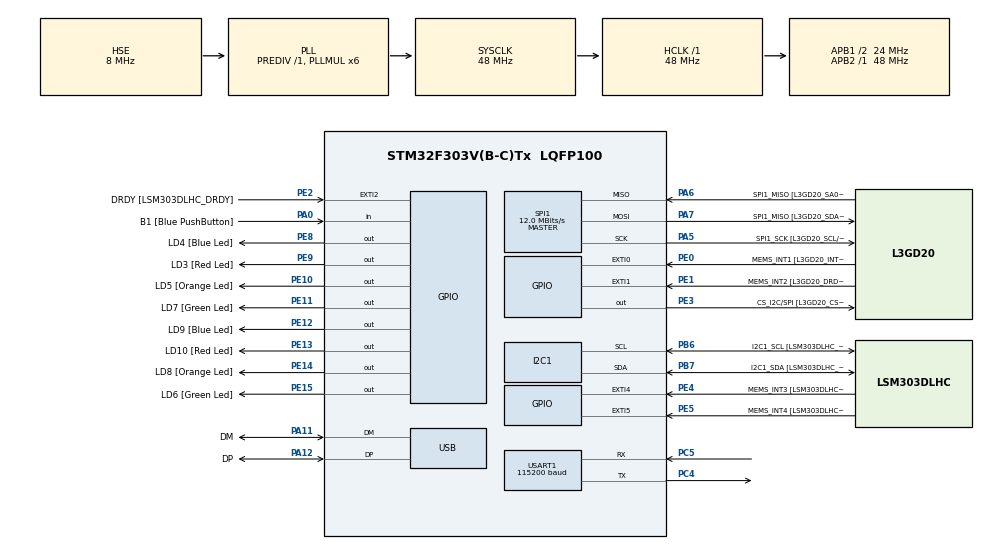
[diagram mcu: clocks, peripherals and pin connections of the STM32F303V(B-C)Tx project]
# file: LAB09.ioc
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I2C1.Timing=0x00201D2B
I2C1.Timing-I2C=0x2000090E
Mcu.Family=STM32F3
Mcu.Name=STM32F303V(B-C)Tx
Mcu.Package=LQFP100
NVIC.PriorityGroup=NVIC_PRIORITYGROUP_0
PA0.GPIO_Label=B1 [Blue PushButton]
PA0.Signal=GPIO_Input
PA11.GPIO_Label=DM
PA11.Mode=Device
PA11.Signal=USB_DM
PA12.GPIO_Label=DP
PA12.Mode=Device
PA12.Signal=USB_DP
PA13.GPIO_Label=SWDIO
PA13.Mode=Serial_Wire
PA13.Signal=SYS_JTMS-SWDIO
PA14.GPIO_Label=SWCLK
PA14.Mode=Serial_Wire
PA14.Signal=SYS_JTCK-SWCLK
PA5.GPIO_Label=SPI1_SCK [L3GD20_SCL/SPC]
PA5.Mode=Full_Duplex_Master
PA5.Signal=SPI1_SCK
PA6.GPIO_Label=SPI1_MISO [L3GD20_SA0/SDO]
PA6.Mode=Full_Duplex_Master
PA6.Signal=SPI1_MISO
PA7.GPIO_Label=SPI1_MISO [L3GD20_SDA/SDI/SDO]
PA7.Mode=Full_Duplex_Master
PA7.Signal=SPI1_MOSI
PB3.GPIO_Label=SWO
PB3.Signal=SYS_JTDO-TRACESWO
PB6.GPIO_Label=I2C1_SCL [LSM303DLHC_SCL]
PB6.GPIO_Pu=GPIO_PULLUP
PB6.Mode=I2C
PB6.Signal=I2C1_SCL
PB7.GPIO_Label=I2C1_SDA [LSM303DLHC_SDA]
PB7.GPIO_Pu=GPIO_PULLUP
PB7.Mode=I2C
PB7.Signal=I2C1_SDA
PC14-OSC32_IN.GPIO_Label=OSC32_IN
PC14-OSC32_IN.Signal=RCC_OSC32_IN
PC15-OSC32_OUT.GPIO_Label=OSC32_OUT
PC15-OSC32_OUT.Signal=RCC_OSC32_OUT
PC4.Mode=Asynchronous
PC4.Signal=USART1_TX
PC5.Mode=Asynchronous
PC5.Signal=USART1_RX
PE0.GPIO_Label=MEMS_INT1 [L3GD20_INT1]
PE0.GPIO_ModeDefaultEXTI=GPIO_MODE_EVT_RISING
PE0.Signal=GPXTI0
PE1.GPIO_Label=MEMS_INT2 [L3GD20_DRDY/INT2]
PE1.GPIO_ModeDefaultEXTI=GPIO_MODE_EVT_RISING
PE1.Signal=GPXTI1
PE10.GPIO_Label=LD5 [Orange Led]
PE10.Signal=GPIO_Output
PE11.GPIO_Label=LD7 [Green Led]
PE11.Signal=GPIO_Output
PE12.GPIO_Label=LD9 [Blue Led]
PE12.Signal=GPIO_Output
PE13.GPIO_Label=LD10 [Red Led]
PE13.Signal=GPIO_Output
PE14.GPIO_Label=LD8 [Orange Led]
PE14.Signal=GPIO_Output
PE15.GPIO_Label=LD6 [Green Led]
PE15.Signal=GPIO_Output
PE2.GPIO_Label=DRDY [LSM303DLHC_DRDY]
PE2.GPIO_ModeDefaultEXTI=GPIO_MODE_EVT_RISING
PE2.Signal=GPXTI2
PE3.GPIO_Label=CS_I2C/SPI [L3GD20_CS_I2C/SPI]
PE3.Signal=GPIO_Output
PE4.GPIO_Label=MEMS_INT3 [LSM303DLHC_INT1]
PE4.GPIO_ModeDefaultEXTI=GPIO_MODE_EVT_RISING
PE4.Signal=GPXTI4
PE5.GPIO_Label=MEMS_INT4 [LSM303DLHC_INT2]
PE5.GPIO_ModeDefaultEXTI=GPIO_MODE_EVT_RISING
PE5.Signal=GPXTI5
PE8.GPIO_Label=LD4 [Blue Led]
PE8.Signal=GPIO_Output
PE9.GPIO_Label=LD3 [Red Led]
PE9.Signal=GPIO_Output
PF0-OSC_IN.GPIO_Label=OSC_IN
PF0-OSC_IN.Mode=HSE-External-Clock-Source
PF0-OSC_IN.Signal=RCC_OSC_IN
PF1-OSC_OUT.GPIO_Label=OSC_OUT
PF1-OSC_OUT.Signal=RCC_OSC_OUT
ProjectManager.HeapSize=0x200
ProjectManager.StackSize=0x400
ProjectManager.TargetToolchain=CMake
RCC.AHBFreq_Value=48000000
RCC.APB1CLKDivider=RCC_HCLK_DIV2
RCC.APB1Freq_Value=24000000
RCC.APB1TimFreq_Value=48000000
RCC.APB2Freq_Value=48000000
RCC.APB2TimFreq_Value=48000000
RCC.CortexFreq_Value=48000000
RCC.HCLKFreq_Value=48000000
RCC.HSE_VALUE=8000000
RCC.HSI_VALUE=8000000
RCC.LSE_VALUE=32768
RCC.PLLMUL=RCC_PLL_MUL6
RCC.SYSCLKFreq_VALUE=48000000
RCC.SYSCLKSourceVirtual=RCC_SYSCLKSOURCE_PLLCLK
RCC.USBFreq_Value=48000000
SPI1.BaudRatePrescaler=SPI_BAUDRATEPRESCALER_4
SPI1.BaudRatePrescaler-Full_Duplex_Master=SPI_BAUDRATEPRESCALER_2
SPI1.CalculateBaudRate=12.0 MBits/s
SPI1.CalculateBaudRate-Full_Duplex_Master=24.0 MBits/s
SPI1.Direction=SPI_DIRECTION_2LINES
SPI1.Mode=SPI_MODE_MASTER
SPI1.Mode-Full_Duplex_Master=SPI_MODE_MASTER
SPI1.VirtualType=VM_MASTER
USART1.BaudRate=115200
USART1.VirtualMode-Asynchronous=VM_ASYNC
board=STM32F3DISCOVERY

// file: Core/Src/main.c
/* USER CODE BEGIN Header */
/**
  ******************************************************************************
  * @file           : main.c
  * @brief          : Main program body
  ******************************************************************************
  * @attention
  *
  * Copyright (c) 2025 STMicroelectronics.
  * All rights reserved.
  *
  * This software is licensed under terms that can be found in the LICENSE file
  * in the root directory of this software component.
  * If no LICENSE file comes with this software, it is provided AS-IS.
  *
  ******************************************************************************
  */
/* USER CODE END Header */
#include "main.h"

/* USER CODE BEGIN Includes */

#include "stdio.h"
#include "stm32f3xx_hal.h"
#include "string.h"
#include "math.h"

/* USER CODE END Includes */

/* USER CODE BEGIN PTD */
//task 1 defs

#define WHO_AM_I_REG     0x0F

uint8_t who_am_i = 0;
char msg[50];
#define LSM303AGR_ADDR   (0x19 << 1)
#define LSM303AGR_ADDR_WRITE 0x32
#define LSM303AGR_ADDR_READ  0x33

#define CTRL_REG1      0x20
#define CTRL_REG1_VAL  0b00001111
#define WHO_AM_I_A      0x0F
#define CTRL_REG1_A     0x20
#define CTRL_REG4_A     0x23
#define OUT_X_L_A       0x28
#define RAD_TO_DEG      57.2958
#define I3G4250D_CS_PORT   GPIOE
#define I3G4250D_CS_PIN    GPIO_PIN_3
#define I3G4250D_WHO_AM_I  0x0F
#define I3G4250D_CTRL_REG1 0x20
#define I3G4250D_CTRL_REG4 0x23
#define I3G4250D_OUT_X_L   0x28
extern I2C_HandleTypeDef hi2c1;
extern UART_HandleTypeDef huart1;

typedef struct {
    int16_t rawX, rawY, rawZ;
    float accX, accY, accZ;
    float offsetX, offsetY, offsetZ;
} LSM303_Data;

LSM303_Data lsmData;

/* USER CODE END PTD */

/* USER CODE BEGIN PD */
typedef struct {

  float acc_rot;
  float gyro_rot;

} rot_angle_struct_t;

rot_angle_struct_t rot_angle_struct;

/* USER CODE END PD */

I2C_HandleTypeDef hi2c1;

SPI_HandleTypeDef hspi1;

UART_HandleTypeDef huart1;

PCD_HandleTypeDef hpcd_USB_FS;

void SystemClock_Config(void);
static void MX_GPIO_Init(void);
static void MX_I2C1_Init(void);
static void MX_SPI1_Init(void);
static void MX_USART1_UART_Init(void);
static void MX_USB_PCD_Init(void);
int16_t gx, gy, gz;

/* USER CODE BEGIN 0 */
void I3G4250D_Init(void)
{
    uint8_t data[2];

    // CTRL_REG1: normal mode, enable all axes
    data[0] = I3G4250D_CTRL_REG1; // register address
    data[1] = 0x0F;               // normal mode, all axes on
    HAL_GPIO_WritePin(GPIOE, I3G4250D_CS_PIN, GPIO_PIN_RESET);
    HAL_SPI_Transmit(&hspi1, data, 2, HAL_MAX_DELAY);
    HAL_GPIO_WritePin(GPIOE, I3G4250D_CS_PIN, GPIO_PIN_SET);

    // CTRL_REG4: scale ±250 dps
    data[0] = I3G4250D_CTRL_REG4;
    data[1] = 0x00;
    HAL_GPIO_WritePin(GPIOE, I3G4250D_CS_PIN, GPIO_PIN_RESET);
    HAL_SPI_Transmit(&hspi1, data, 2, HAL_MAX_DELAY);
    HAL_GPIO_WritePin(GPIOE, I3G4250D_CS_PIN, GPIO_PIN_SET);
}

// Global offsets for gyro
int16_t gx_offset = 0, gy_offset = 0, gz_offset = 0;

// Call once at startup to calibrate gyro
void I3G4250D_Calibrate(void)
{
    const int samples = 200;  // More samples = better average
    int32_t sumX = 0, sumY = 0, sumZ = 0;
    int16_t gx_raw, gy_raw, gz_raw;
    uint8_t buf[7];

    HAL_UART_Transmit(&huart1, (uint8_t*)"Calibrating gyro...\r\n", 21, HAL_MAX_DELAY);

    for (int i = 0; i < samples; i++)
    {
        buf[0] = 0x28 | 0xC0;  // OUT_X_L + auto-increment
        HAL_GPIO_WritePin(GPIOE, I3G4250D_CS_PIN, GPIO_PIN_RESET);
        HAL_SPI_TransmitReceive(&hspi1, buf, buf, 7, HAL_MAX_DELAY);
        HAL_GPIO_WritePin(GPIOE, I3G4250D_CS_PIN, GPIO_PIN_SET);

        gx_raw = (int16_t)(buf[2] << 8 | buf[1]);
        gy_raw = (int16_t)(buf[4] << 8 | buf[3]);
        gz_raw = (int16_t)(buf[6] << 8 | buf[5]);

        sumX += gx_raw;
        sumY += gy_raw;
        sumZ += gz_raw;

        HAL_Delay(5);
    }

    gx_offset = sumX / samples;
    gy_offset = sumY / samples;
    gz_offset = sumZ / samples;

    // Small deadband noise threshold (ignore ±2 raw counts)
    if (gx_offset > -2 && gx_offset < 2) gx_offset = 0;
    if (gy_offset > -2 && gy_offset < 2) gy_offset = 0;
    if (gz_offset > -2 && gz_offset < 2) gz_offset = 0;

}

// Read gyro axes with offsets applied
void read_gyro_axes(void)
{
    uint8_t buf[7];
    buf[0] = 0x28 | 0xC0;

    HAL_GPIO_WritePin(GPIOE, I3G4250D_CS_PIN, GPIO_PIN_RESET);
    HAL_SPI_TransmitReceive(&hspi1, buf, buf, 7, HAL_MAX_DELAY);
    HAL_GPIO_WritePin(GPIOE, I3G4250D_CS_PIN, GPIO_PIN_SET);

    int16_t gx_raw = (int16_t)(buf[2] << 8 | buf[1]) - gx_offset;
    int16_t gy_raw = (int16_t)(buf[4] << 8 | buf[3]) - gy_offset;
    int16_t gz_raw = (int16_t)(buf[6] << 8 | buf[5]) - gz_offset;

    float gx_dps = gx_raw * 0.00875f;
    float gy_dps = gy_raw * 0.00875f;
    float gz_dps = gz_raw * 0.00875f;
    // rot_angle_struct.gyro_rot = gy_dps;

 char uartBuf[80];
    snprintf(uartBuf, sizeof(uartBuf), "GYRO: %.2f, %.2f, %.2f\r\n", gx_dps, gy_dps, gz_dps);
    HAL_UART_Transmit(&huart1, (uint8_t*)uartBuf, strlen(uartBuf), HAL_MAX_DELAY);
}

void LSM303_Init(void)
{
    uint8_t data;

    // 1. Enable all axes (X, Y, Z), 100 Hz, normal mode
    data = 0x57;  // 0101 0111 = 100Hz, all axes enabled
    HAL_I2C_Mem_Write(&hi2c1, LSM303AGR_ADDR,
                      CTRL_REG1_A, I2C_MEMADD_SIZE_8BIT,
                      &data, 1, HAL_MAX_DELAY);

    // 2. Disable high-pass filters
    data = 0x00;
    HAL_I2C_Mem_Write(&hi2c1, LSM303AGR_ADDR,
                      0x21, I2C_MEMADD_SIZE_8BIT,
                      &data, 1, HAL_MAX_DELAY);

    // 3. Enable block data update, ±2g full-scale, little endian
    data = 0x80;  // BDU=1
    HAL_I2C_Mem_Write(&hi2c1, LSM303AGR_ADDR,
                      CTRL_REG4_A, I2C_MEMADD_SIZE_8BIT,
                      &data, 1, HAL_MAX_DELAY);

    // 4. Enable auto-increment for multiple reads (CTRL_REG6_A)
    data = 0x10;
    HAL_I2C_Mem_Write(&hi2c1, LSM303AGR_ADDR,
                      0x25, I2C_MEMADD_SIZE_8BIT,
                      &data, 1, HAL_MAX_DELAY);

    HAL_Delay(200);
}

// Read accelerometer
#define LSM303_SCALE_2G 0.001f  // 1 mg/LSB

void LSM303_ReadAccel(void)
{
    uint8_t data[6];
    HAL_I2C_Mem_Read(&hi2c1, LSM303AGR_ADDR, OUT_X_L_A | 0x80,
                     I2C_MEMADD_SIZE_8BIT, data, 6, HAL_MAX_DELAY);

    // Combine bytes (little-endian: low byte first)
    lsmData.rawX = (int16_t)(data[1] << 8 | data[0]);
    lsmData.rawY = (int16_t)(data[3] << 8 | data[2]);
    lsmData.rawZ = (int16_t)(data[5] << 8 | data[4]);

    // Convert to m/s² (assuming ±2g range, 1 LSB = 0.000598 m/s²)
    lsmData.accX = lsmData.rawX * 0.000598 - lsmData.offsetX;
    lsmData.accY = lsmData.rawY * 0.000598 - lsmData.offsetY;
    lsmData.accZ = lsmData.rawZ * 0.000598 - lsmData.offsetZ;

    // Store one axis for rotation (example: Y-axis)
    rot_angle_struct.acc_rot = lsmData.accY;
}

void LSM303_Offset(void)
{
    float sumX = 0, sumY = 0;
    int samples = 20;

    for (int i = 0; i < samples; i++)
    {
        LSM303_ReadAccel();
        sumX += lsmData.accX;
        sumY += lsmData.accY;
        HAL_Delay(50);
    }

    lsmData.offsetX = sumX / samples;
    lsmData.offsetY = sumY / samples;
}

void LSM303_Print(void)
{
    char uartBuf[100];
    snprintf(uartBuf, sizeof(uartBuf),
             "ACC: %.2f, %.2f, %.2f\r\n",
             lsmData.accX,
             lsmData.accY,
             lsmData.accZ);
    HAL_UART_Transmit(&huart1, (uint8_t*)uartBuf, strlen(uartBuf), HAL_MAX_DELAY);
}

/* USER CODE END 0 */

int main(void)
{

  /* MCU Configuration--------------------------------------------------------*/

  /* Reset of all peripherals, Initializes the Flash interface and the Systick. */

  HAL_Init();
  void gyro_init(void);
  void read_gyro_axes(void);                         // task3
  void HAL_SPI_TxCpltCallback(SPI_HandleTypeDef *hspi);
  void HAL_SPI_RxCpltCallback(SPI_HandleTypeDef *hspi);
  /* USER CODE BEGIN Init */
  I3G4250D_Init();
  HAL_Delay(100);
  I3G4250D_Calibrate();
  /* USER CODE END Init */

  /* Configure the system clock */
  SystemClock_Config();

  /* Initialize all configured peripherals */
  MX_GPIO_Init();
  MX_I2C1_Init();
  MX_SPI1_Init();
  MX_USART1_UART_Init();
  MX_USB_PCD_Init();

  // now initialize gyro
  I3G4250D_Init();
  HAL_Delay(100);

  // then accelerometer
  LSM303_Init();
  HAL_Delay(100);
  LSM303_Offset();

  /* USER CODE END 2 */

  /* Infinite loop */
    //task 1
  //     HAL_Delay(100); // Wait for sensor startup

  // if (HAL_I2C_Mem_Read(&hi2c1, LSM303AGR_ADDR, WHO_AM_I_REG,
  //                      I2C_MEMADD_SIZE_8BIT, &who_am_i, 1, HAL_MAX_DELAY) == HAL_OK)
  // {
  //     sprintf(msg, "LSM303AGR WHO_AM_I register = 0x%02X\r\n", who_am_i);
  // }
  // else
  // {
  //     sprintf(msg, "I2C read failed!\r\n");
  // }

  // HAL_UART_Transmit(&huart1, (uint8_t*)msg, strlen(msg), HAL_MAX_DELAY);
    /* USER CODE BEGIN 3 */

    while (1)
{
    LSM303_ReadAccel();
    LSM303_Print();
    read_gyro_axes();
    HAL_Delay(200);
}

  }
  /* USER CODE END 3 */

void SystemClock_Config(void)
{
  RCC_OscInitTypeDef RCC_OscInitStruct = {0};
  RCC_ClkInitTypeDef RCC_ClkInitStruct = {0};
  RCC_PeriphCLKInitTypeDef PeriphClkInit = {0};

  /** Initializes the RCC Oscillators according to the specified parameters
  * in the RCC_OscInitTypeDef structure.
  */
  RCC_OscInitStruct.OscillatorType = RCC_OSCILLATORTYPE_HSI|RCC_OSCILLATORTYPE_HSE;
  RCC_OscInitStruct.HSEState = RCC_HSE_BYPASS;
  RCC_OscInitStruct.HSEPredivValue = RCC_HSE_PREDIV_DIV1;
  RCC_OscInitStruct.HSIState = RCC_HSI_ON;
  RCC_OscInitStruct.HSICalibrationValue = RCC_HSICALIBRATION_DEFAULT;
  RCC_OscInitStruct.PLL.PLLState = RCC_PLL_ON;
  RCC_OscInitStruct.PLL.PLLSource = RCC_PLLSOURCE_HSE;
  RCC_OscInitStruct.PLL.PLLMUL = RCC_PLL_MUL6;
  if (HAL_RCC_OscConfig(&RCC_OscInitStruct) != HAL_OK)
  {
    Error_Handler();
  }

  /** Initializes the CPU, AHB and APB buses clocks
  */
  RCC_ClkInitStruct.ClockType = RCC_CLOCKTYPE_HCLK|RCC_CLOCKTYPE_SYSCLK
                              |RCC_CLOCKTYPE_PCLK1|RCC_CLOCKTYPE_PCLK2;
  RCC_ClkInitStruct.SYSCLKSource = RCC_SYSCLKSOURCE_PLLCLK;
  RCC_ClkInitStruct.AHBCLKDivider = RCC_SYSCLK_DIV1;
  RCC_ClkInitStruct.APB1CLKDivider = RCC_HCLK_DIV2;
  RCC_ClkInitStruct.APB2CLKDivider = RCC_HCLK_DIV1;

  if (HAL_RCC_ClockConfig(&RCC_ClkInitStruct, FLASH_LATENCY_1) != HAL_OK)
  {
    Error_Handler();
  }
  PeriphClkInit.PeriphClockSelection = RCC_PERIPHCLK_USB|RCC_PERIPHCLK_USART1
                              |RCC_PERIPHCLK_I2C1;
  PeriphClkInit.Usart1ClockSelection = RCC_USART1CLKSOURCE_PCLK2;
  PeriphClkInit.I2c1ClockSelection = RCC_I2C1CLKSOURCE_HSI;
  PeriphClkInit.USBClockSelection = RCC_USBCLKSOURCE_PLL;
  if (HAL_RCCEx_PeriphCLKConfig(&PeriphClkInit) != HAL_OK)
  {
    Error_Handler();
  }
}

static void MX_I2C1_Init(void)
{

  hi2c1.Instance = I2C1;
  hi2c1.Init.Timing = 0x00201D2B;
  hi2c1.Init.OwnAddress1 = 0;
  hi2c1.Init.AddressingMode = I2C_ADDRESSINGMODE_7BIT;
  hi2c1.Init.DualAddressMode = I2C_DUALADDRESS_DISABLE;
  hi2c1.Init.OwnAddress2 = 0;
  hi2c1.Init.OwnAddress2Masks = I2C_OA2_NOMASK;
  hi2c1.Init.GeneralCallMode = I2C_GENERALCALL_DISABLE;
  hi2c1.Init.NoStretchMode = I2C_NOSTRETCH_DISABLE;
  if (HAL_I2C_Init(&hi2c1) != HAL_OK)
  {
    Error_Handler();
  }

  /** Configure Analogue filter
  */
  if (HAL_I2CEx_ConfigAnalogFilter(&hi2c1, I2C_ANALOGFILTER_ENABLE) != HAL_OK)
  {
    Error_Handler();
  }

  /** Configure Digital filter
  */
  if (HAL_I2CEx_ConfigDigitalFilter(&hi2c1, 0) != HAL_OK)
  {
    Error_Handler();
  }

}

static void MX_SPI1_Init(void)
{

  /* SPI1 parameter configuration*/
  hspi1.Instance = SPI1;
  hspi1.Init.Mode = SPI_MODE_MASTER;
  hspi1.Init.Direction = SPI_DIRECTION_2LINES;
  hspi1.Init.DataSize = SPI_DATASIZE_8BIT;
  hspi1.Init.CLKPolarity = SPI_POLARITY_HIGH;
  hspi1.Init.CLKPhase = SPI_PHASE_2EDGE;
  hspi1.Init.NSS = SPI_NSS_SOFT;
  hspi1.Init.BaudRatePrescaler = SPI_BAUDRATEPRESCALER_4;
  hspi1.Init.FirstBit = SPI_FIRSTBIT_MSB;
  hspi1.Init.TIMode = SPI_TIMODE_DISABLE;
  hspi1.Init.CRCCalculation = SPI_CRCCALCULATION_DISABLE;
  hspi1.Init.CRCPolynomial = 7;
  hspi1.Init.CRCLength = SPI_CRC_LENGTH_DATASIZE;
  hspi1.Init.NSSPMode = SPI_NSS_PULSE_ENABLE;
  if (HAL_SPI_Init(&hspi1) != HAL_OK)
  {
    Error_Handler();
  }

}

static void MX_USART1_UART_Init(void)
{

  huart1.Instance = USART1;
  huart1.Init.BaudRate = 115200;
  huart1.Init.WordLength = UART_WORDLENGTH_8B;
  huart1.Init.StopBits = UART_STOPBITS_1;
  huart1.Init.Parity = UART_PARITY_NONE;
  huart1.Init.Mode = UART_MODE_TX_RX;
  huart1.Init.HwFlowCtl = UART_HWCONTROL_NONE;
  huart1.Init.OverSampling = UART_OVERSAMPLING_16;
  huart1.Init.OneBitSampling = UART_ONE_BIT_SAMPLE_DISABLE;
  huart1.AdvancedInit.AdvFeatureInit = UART_ADVFEATURE_NO_INIT;
  if (HAL_UART_Init(&huart1) != HAL_OK)
  {
    Error_Handler();
  }

}

static void MX_USB_PCD_Init(void)
{

  hpcd_USB_FS.Instance = USB;
  hpcd_USB_FS.Init.dev_endpoints = 8;
  hpcd_USB_FS.Init.speed = PCD_SPEED_FULL;
  hpcd_USB_FS.Init.phy_itface = PCD_PHY_EMBEDDED;
  hpcd_USB_FS.Init.low_power_enable = DISABLE;
  hpcd_USB_FS.Init.battery_charging_enable = DISABLE;
  if (HAL_PCD_Init(&hpcd_USB_FS) != HAL_OK)
  {
    Error_Handler();
  }

}

static void MX_GPIO_Init(void)
{
  GPIO_InitTypeDef GPIO_InitStruct = {0};

  /* GPIO Ports Clock Enable */
  __HAL_RCC_GPIOE_CLK_ENABLE();
  __HAL_RCC_GPIOC_CLK_ENABLE();
  __HAL_RCC_GPIOF_CLK_ENABLE();
  __HAL_RCC_GPIOA_CLK_ENABLE();
  __HAL_RCC_GPIOB_CLK_ENABLE();

  /*Configure GPIO pin Output Level */
  HAL_GPIO_WritePin(GPIOE, CS_I2C_SPI_Pin|LD4_Pin|LD3_Pin|LD5_Pin
                          |LD7_Pin|LD9_Pin|LD10_Pin|LD8_Pin
                          |LD6_Pin, GPIO_PIN_RESET);

  /*Configure GPIO pins : DRDY_Pin MEMS_INT3_Pin MEMS_INT4_Pin MEMS_INT1_Pin
                           MEMS_INT2_Pin */
  GPIO_InitStruct.Pin = DRDY_Pin|MEMS_INT3_Pin|MEMS_INT4_Pin|MEMS_INT1_Pin
                          |MEMS_INT2_Pin;
  GPIO_InitStruct.Mode = GPIO_MODE_EVT_RISING;
  GPIO_InitStruct.Pull = GPIO_NOPULL;
  HAL_GPIO_Init(GPIOE, &GPIO_InitStruct);

  /*Configure GPIO pins : CS_I2C_SPI_Pin LD4_Pin LD3_Pin LD5_Pin
                           LD7_Pin LD9_Pin LD10_Pin LD8_Pin
                           LD6_Pin */
  GPIO_InitStruct.Pin = CS_I2C_SPI_Pin|LD4_Pin|LD3_Pin|LD5_Pin
                          |LD7_Pin|LD9_Pin|LD10_Pin|LD8_Pin
                          |LD6_Pin;
  GPIO_InitStruct.Mode = GPIO_MODE_OUTPUT_PP;
  GPIO_InitStruct.Pull = GPIO_NOPULL;
  GPIO_InitStruct.Speed = GPIO_SPEED_FREQ_LOW;
  HAL_GPIO_Init(GPIOE, &GPIO_InitStruct);

  /*Configure GPIO pin : B1_Pin */
  GPIO_InitStruct.Pin = B1_Pin;
  GPIO_InitStruct.Mode = GPIO_MODE_INPUT;
  GPIO_InitStruct.Pull = GPIO_NOPULL;
  HAL_GPIO_Init(B1_GPIO_Port, &GPIO_InitStruct);

}

void Error_Handler(void)
{
  __disable_irq();
  while (1)
  {
  }
}
